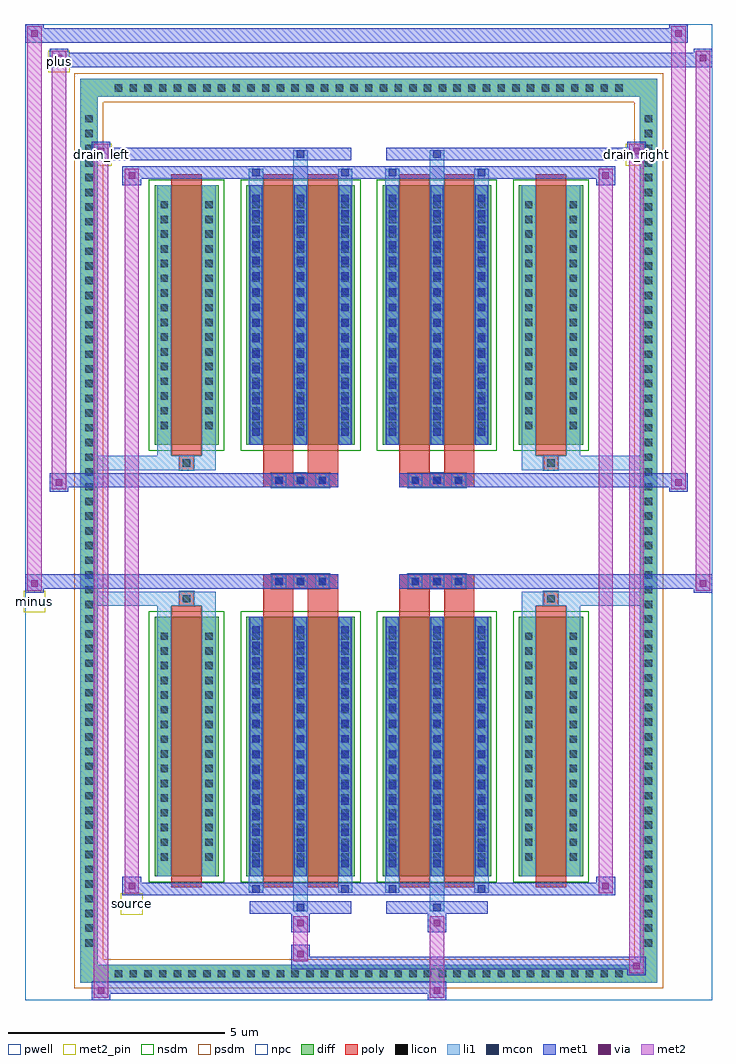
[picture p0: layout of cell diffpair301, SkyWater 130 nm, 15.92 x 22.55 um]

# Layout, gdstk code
import gdstk
lib = gdstk.Library(unit=1e-6, precision=5e-09)
def R(c, l, rs):  # rectangles x0, y0, x1, y1
    for r in rs: c.add(gdstk.rectangle(r[:2], r[2:], *l))
def A(c, l, x, y, w, h, nx, ny, dx, dy):  # array of equal rectangles
    R(c, l, [(x+i*dx, y+j*dy, x+i*dx+w, y+j*dy+h) for i in range(nx) for j in range(ny)])
def P(c, l, *ps):  # polygons
    for p in ps: c.add(gdstk.Polygon(p, *l))
pwell = (64, 44)
diff = (65, 20)
poly = (66, 20)
licon = (66, 44)
li1 = (67, 20)
mcon = (67, 44)
met1 = (68, 20)
via = (68, 44)
met2_pin = (69, 16)
met2 = (69, 20)
nsdm = (93, 44)
psdm = (94, 20)
npc = (95, 20)

diffpair301 = lib.new_cell('diffpair301')
R(diffpair301, pwell, [(-7.94,-10.84,7.94,11.71), (-5.26,-9.03,-0.01,-0.805), (0.01,-9.03,5.26,-0.805), (-5.26,0.805,-0.01,9.03), (0.01,0.805,5.26,9.03)])
A(diffpair301, diff, -5.985, -10.44, 0.41, 0.41, 35, 2, 0.34, 20.47)
A(diffpair301, diff, -6.67, -9.725, 0.41, 0.41, 1, 57, 0, 0.34)
A(diffpair301, diff, 6.26, -9.725, 0.41, 0.41, 1, 57, 0, 0.34)
R(diffpair301, diff, [(-5.985,-10.44,5.985,-10.03), (-6.67,-9.725,-6.26,9.725), (6.26,-9.725,6.67,9.725), (-4.95,-7.985,-3.47,-1.985), (-2.83,-7.985,-0.32,-1.985), (0.32,-7.985,2.83,-1.985), (3.47,-7.985,4.95,-1.985), (-4.95,1.985,-3.47,7.985), (-2.83,1.985,-0.32,7.985), (0.32,1.985,2.83,7.985), (3.47,1.985,4.95,7.985), (-5.985,10.03,5.985,10.44)])
P(diffpair301, diff, [(6.67,10.44),(-6.67,10.44),(-6.67,-10.03),(-6.26,-10.03),(-6.26,10.03),(6.26,10.03),(6.26,-10.03),(-6.26,-10.03),(-6.67,-10.03),(-6.67,-10.44),(6.67,-10.44)])
A(diffpair301, poly, -2.24, -1.335, 0.33, 0.33, 3, 2, 0.5, 2.34)
A(diffpair301, poly, 0.91, -1.335, 0.33, 0.33, 3, 2, 0.5, 2.34)
R(diffpair301, poly, [(-4.56,-8.235,-3.86,-1.735), (-2.44,-8.235,-1.74,-1.735), (-1.41,-8.235,-0.71,-1.735), (0.71,-8.235,1.41,-1.735), (1.74,-8.235,2.44,-1.735), (3.86,-8.235,4.56,-1.735), (-4.375,-1.735,-4.045,-1.405), (-4.375,-1.735,-4.045,-1.405), (-2.44,-1.735,-1.74,-1.335), (-1.41,-1.735,-0.71,-1.335), (0.71,-1.735,1.41,-1.335), (1.74,-1.735,2.44,-1.335), (4.045,-1.735,4.375,-1.405), (4.045,-1.735,4.375,-1.405), (-2.44,-1.335,-0.71,-1.005), (0.71,-1.335,2.44,-1.005), (-2.44,1.005,-0.71,1.335), (0.71,1.005,2.44,1.335), (-2.44,1.335,-1.74,1.735), (-1.41,1.335,-0.71,1.735), (0.71,1.335,1.41,1.735), (1.74,1.335,2.44,1.735), (-4.375,1.405,-4.045,1.735), (-4.375,1.405,-4.045,1.735), (4.045,1.405,4.375,1.735), (4.045,1.405,4.375,1.735), (-4.56,1.735,-3.86,8.235), (-2.44,1.735,-1.74,8.235), (-1.41,1.735,-0.71,8.235), (0.71,1.735,1.41,8.235), (1.74,1.735,2.44,8.235), (3.86,1.735,4.56,8.235)])
A(diffpair301, licon, -5.865, -10.32, 0.17, 0.17, 35, 2, 0.34, 20.47)
A(diffpair301, licon, -6.55, -9.605, 0.17, 0.17, 1, 57, 0, 0.34)
A(diffpair301, licon, 6.38, -9.605, 0.17, 0.17, 1, 57, 0, 0.34)
A(diffpair301, licon, -4.81, -7.62, 0.17, 0.17, 1, 16, 0, 0.34)
A(diffpair301, licon, -3.78, -7.62, 0.17, 0.17, 1, 16, 0, 0.34)
A(diffpair301, licon, -2.69, -7.62, 0.17, 0.17, 3, 16, 1.03, 0.34)
A(diffpair301, licon, 0.46, -7.62, 0.17, 0.17, 3, 16, 1.03, 0.34)
A(diffpair301, licon, 3.61, -7.62, 0.17, 0.17, 1, 16, 0, 0.34)
A(diffpair301, licon, 4.64, -7.62, 0.17, 0.17, 1, 16, 0, 0.34)
A(diffpair301, licon, -2.16, -1.255, 0.17, 0.17, 3, 2, 0.5, 2.34)
A(diffpair301, licon, 0.99, -1.255, 0.17, 0.17, 3, 2, 0.5, 2.34)
A(diffpair301, licon, -4.81, 2.35, 0.17, 0.17, 1, 16, 0, 0.34)
A(diffpair301, licon, -3.78, 2.35, 0.17, 0.17, 1, 16, 0, 0.34)
A(diffpair301, licon, -2.69, 2.35, 0.17, 0.17, 3, 16, 1.03, 0.34)
A(diffpair301, licon, 0.46, 2.35, 0.17, 0.17, 3, 16, 1.03, 0.34)
A(diffpair301, licon, 3.61, 2.35, 0.17, 0.17, 1, 16, 0, 0.34)
A(diffpair301, licon, 4.64, 2.35, 0.17, 0.17, 1, 16, 0, 0.34)
R(diffpair301, licon, [(-4.295,-1.655,-4.125,-1.485), (4.125,-1.655,4.295,-1.485), (-4.295,1.485,-4.125,1.655), (4.125,1.485,4.295,1.655)])
A(diffpair301, li1, -5.945, -10.4, 0.33, 0.33, 35, 2, 0.34, 20.47)
A(diffpair301, li1, -6.63, -9.685, 0.33, 0.33, 1, 57, 0, 0.34)
A(diffpair301, li1, 6.3, -9.685, 0.33, 0.33, 1, 57, 0, 0.34)
A(diffpair301, li1, -2.77, -7.985, 0.33, 6, 3, 2, 1.03, 9.97)
A(diffpair301, li1, 0.38, -7.985, 0.33, 6, 3, 2, 1.03, 9.97)
A(diffpair301, li1, -2.69, -7.77, 0.17, 0.17, 3, 16, 1.03, 0.36)
A(diffpair301, li1, -2.69, -7.77, 0.17, 5.57, 3, 2, 1.03, 9.97)
A(diffpair301, li1, 0.46, -7.77, 0.17, 0.17, 3, 16, 1.03, 0.36)
A(diffpair301, li1, 0.46, -7.77, 0.17, 5.57, 3, 2, 1.03, 9.97)
A(diffpair301, li1, -4.89, -7.7, 0.33, 0.33, 1, 16, 0, 0.34)
A(diffpair301, li1, -3.86, -7.7, 0.33, 0.33, 1, 16, 0, 0.34)
A(diffpair301, li1, -2.77, -7.7, 0.33, 0.33, 3, 16, 1.03, 0.34)
A(diffpair301, li1, 0.38, -7.7, 0.33, 0.33, 3, 16, 1.03, 0.34)
A(diffpair301, li1, 3.53, -7.7, 0.33, 0.33, 1, 16, 0, 0.34)
A(diffpair301, li1, 4.56, -7.7, 0.33, 0.33, 1, 16, 0, 0.34)
A(diffpair301, li1, -2.24, -1.335, 0.33, 0.33, 3, 2, 0.5, 2.34)
A(diffpair301, li1, 0.91, -1.335, 0.33, 0.33, 3, 2, 0.5, 2.34)
A(diffpair301, li1, -2.69, 2.2, 0.17, 0.17, 3, 16, 1.03, 0.36)
A(diffpair301, li1, 0.46, 2.2, 0.17, 0.17, 3, 16, 1.03, 0.36)
A(diffpair301, li1, -4.89, 2.27, 0.33, 0.33, 1, 16, 0, 0.34)
A(diffpair301, li1, -3.86, 2.27, 0.33, 0.33, 1, 16, 0, 0.34)
A(diffpair301, li1, -2.77, 2.27, 0.33, 0.33, 3, 16, 1.03, 0.34)
A(diffpair301, li1, 0.38, 2.27, 0.33, 0.33, 3, 16, 1.03, 0.34)
A(diffpair301, li1, 3.53, 2.27, 0.33, 0.33, 1, 16, 0, 0.34)
A(diffpair301, li1, 4.56, 2.27, 0.33, 0.33, 1, 16, 0, 0.34)
R(diffpair301, li1, [(-6.67,-10.44,-6.26,-10.03), (-6.67,-10.44,-6.26,-10.03), (-6.26,-10.44,6.26,-10.03), (6.26,-10.44,6.67,-10.03), (6.26,-10.44,6.67,-10.03), (-6.67,-10.03,-6.26,10.03), (6.26,-10.03,6.67,10.03), (-1.74,-8.79,-1.41,-7.985), (-1.66,-8.79,-1.49,-8.62), (1.41,-8.79,1.74,-7.985), (1.49,-8.79,1.66,-8.62), (-2.77,-8.36,-2.44,-7.985), (-2.69,-8.36,-2.52,-8.19), (-0.71,-8.36,-0.38,-7.985), (-0.63,-8.36,-0.46,-8.19), (0.38,-8.36,0.71,-7.985), (0.46,-8.36,0.63,-8.19), (2.44,-8.36,2.77,-7.985), (2.52,-8.36,2.69,-8.19), (-4.89,-7.985,-4.56,-1.985), (-3.86,-7.985,-3.53,-1.985), (3.53,-7.985,3.86,-1.985), (4.56,-7.985,4.89,-1.985), (-4.89,-1.985,-4.56,-1.405), (-3.86,-1.985,-3.53,-1.405), (3.53,-1.985,3.86,-1.405), (4.56,-1.985,4.89,-1.405), (-6.67,-1.735,-4.375,-1.405), (-4.89,-1.735,-4.375,-1.405), (-4.375,-1.735,-4.045,-1.405), (-4.045,-1.735,-3.53,-1.405), (3.53,-1.735,4.045,-1.405), (4.045,-1.735,4.375,-1.405), (4.045,-1.735,6.67,-1.405), (4.375,-1.735,4.89,-1.405), (-6.67,1.405,-4.375,1.735), (-4.89,1.405,-4.375,1.735), (-4.89,1.405,-4.56,1.985), (-4.375,1.405,-4.045,1.735), (-4.045,1.405,-3.53,1.735), (-3.86,1.405,-3.53,1.985), (3.53,1.405,4.045,1.735), (3.53,1.405,3.86,1.985), (4.045,1.405,4.375,1.735), (4.045,1.405,6.67,1.735), (4.375,1.405,4.89,1.735), (4.56,1.405,4.89,1.985), (-4.89,1.985,-4.56,7.985), (-3.86,1.985,-3.53,7.985), (3.53,1.985,3.86,7.985), (4.56,1.985,4.89,7.985), (-2.77,7.985,-2.44,8.36), (-1.74,7.985,-1.41,8.79), (-0.71,7.985,-0.38,8.36), (0.38,7.985,0.71,8.36), (1.41,7.985,1.74,8.79), (2.44,7.985,2.77,8.36), (-2.69,8.19,-2.52,8.36), (-0.63,8.19,-0.46,8.36), (0.46,8.19,0.63,8.36), (2.52,8.19,2.69,8.36), (-1.66,8.62,-1.49,8.79), (1.49,8.62,1.66,8.79), (-6.67,10.03,-6.26,10.44), (-6.67,10.03,-6.26,10.44), (-6.26,10.03,6.26,10.44), (6.26,10.03,6.67,10.44), (6.26,10.03,6.67,10.44)])
A(diffpair301, mcon, -2.69, -7.77, 0.17, 0.17, 3, 16, 1.03, 0.36)
A(diffpair301, mcon, 0.46, -7.77, 0.17, 0.17, 3, 16, 1.03, 0.36)
A(diffpair301, mcon, -2.16, -1.255, 0.17, 0.17, 3, 2, 0.5, 2.34)
A(diffpair301, mcon, 0.99, -1.255, 0.17, 0.17, 3, 2, 0.5, 2.34)
A(diffpair301, mcon, -2.69, 2.2, 0.17, 0.17, 3, 16, 1.03, 0.36)
A(diffpair301, mcon, 0.46, 2.2, 0.17, 0.17, 3, 16, 1.03, 0.36)
R(diffpair301, mcon, [(-1.66,-8.79,-1.49,-8.62), (1.49,-8.79,1.66,-8.62), (-2.69,-8.36,-2.52,-8.19), (-0.63,-8.36,-0.46,-8.19), (0.46,-8.36,0.63,-8.19), (2.52,-8.36,2.69,-8.19), (-2.69,8.19,-2.52,8.36), (-0.63,8.19,-0.46,8.36), (0.46,8.19,0.63,8.36), (2.52,8.19,2.69,8.36), (-1.66,8.62,-1.49,8.79), (1.49,8.62,1.66,8.79)])
A(diffpair301, met1, -2.75, -7.985, 0.29, 6, 3, 2, 1.03, 9.97)
A(diffpair301, met1, 0.4, -7.985, 0.29, 6, 3, 2, 1.03, 9.97)
A(diffpair301, met1, -2.75, -7.83, 0.29, 0.29, 3, 16, 1.03, 0.36)
A(diffpair301, met1, 0.4, -7.83, 0.29, 0.29, 3, 16, 1.03, 0.36)
A(diffpair301, met1, -2.22, -1.315, 0.29, 0.29, 3, 2, 0.5, 2.34)
A(diffpair301, met1, 0.93, -1.315, 0.29, 0.29, 3, 2, 0.5, 2.34)
A(diffpair301, met1, -2.75, 2.14, 0.29, 0.29, 3, 16, 1.03, 0.36)
A(diffpair301, met1, 0.4, 2.14, 0.29, 0.29, 3, 16, 1.03, 0.36)
R(diffpair301, met1, [(-6.4,-10.84,-5.97,-10.41), (1.36,-10.84,1.79,-10.41), (-6.4,-10.7,1.79,-10.41), (5.97,-10.27,6.4,-9.84), (-1.79,-10.13,6.4,-9.84), (-1.79,-9.99,-1.36,-9.56), (-1.79,-9.28,-1.36,-8.85), (1.36,-9.28,1.79,-8.85), (-2.75,-8.85,-0.4,-8.56), (-1.72,-8.85,-1.43,-8.56), (0.4,-8.85,2.75,-8.56), (1.43,-8.85,1.72,-8.56), (-5.69,-8.42,-5.26,-7.99), (-5.69,-8.42,-2.75,-8.13), (-2.75,-8.42,-2.46,-8.13), (-2.75,-8.42,-0.4,-8.13), (-0.69,-8.42,-0.4,-8.13), (-0.4,-8.42,0.4,-8.13), (0.4,-8.42,0.69,-8.13), (0.4,-8.42,2.75,-8.13), (2.46,-8.42,2.75,-8.13), (2.75,-8.42,5.69,-8.13), (5.26,-8.42,5.69,-7.99), (-7.94,-1.435,-7.51,-1.005), (7.51,-1.435,7.94,-1.005), (-7.94,-1.335,-0.71,-1.005), (-2.44,-1.335,-0.71,-1.005), (0.71,-1.335,2.44,-1.005), (0.71,-1.335,7.94,-1.005), (-7.37,0.905,-6.94,1.335), (6.94,0.905,7.37,1.335), (-7.37,1.005,-2.44,1.335), (-2.44,1.005,-0.71,1.335), (0.71,1.005,2.44,1.335), (2.44,1.005,7.37,1.335), (-5.69,7.99,-5.26,8.42), (5.26,7.99,5.69,8.42), (-5.69,8.13,-2.75,8.42), (-2.75,8.13,-2.46,8.42), (-2.75,8.13,-0.4,8.42), (-0.69,8.13,-0.4,8.42), (-0.4,8.13,0.4,8.42), (0.4,8.13,0.69,8.42), (0.4,8.13,2.75,8.42), (2.46,8.13,2.75,8.42), (2.75,8.13,5.69,8.42), (-6.4,8.56,-5.97,8.99), (-6.4,8.56,-2.75,8.85), (-2.75,8.56,-0.4,8.85), (-1.72,8.56,-1.43,8.85), (0.4,8.56,2.75,8.85), (1.43,8.56,1.72,8.85), (2.75,8.56,6.4,8.85), (5.97,8.56,6.4,8.99), (-7.37,10.71,-6.94,11.14), (-7.37,10.71,-5.26,11.04), (-5.26,10.71,5.26,11.04), (5.26,10.71,7.94,11.04), (7.51,10.71,7.94,11.14), (-7.94,11.28,-7.51,11.71), (-7.94,11.28,-5.26,11.61), (-5.26,11.28,5.26,11.61), (5.26,11.28,7.37,11.61), (6.94,11.28,7.37,11.71)])
R(diffpair301, via, [(-6.26,-10.7,-6.11,-10.55), (1.5,-10.7,1.65,-10.55), (6.11,-10.13,6.26,-9.98), (-1.65,-9.85,-1.5,-9.7), (-1.65,-9.14,-1.5,-8.99), (1.5,-9.14,1.65,-8.99), (-5.55,-8.28,-5.4,-8.13), (5.4,-8.28,5.55,-8.13), (-7.8,-1.295,-7.65,-1.145), (7.65,-1.295,7.8,-1.145), (-7.23,1.045,-7.08,1.195), (7.08,1.045,7.23,1.195), (-5.55,8.13,-5.4,8.28), (5.4,8.13,5.55,8.28), (-6.26,8.7,-6.11,8.85), (6.11,8.7,6.26,8.85), (-7.23,10.85,-7.08,11), (7.65,10.85,7.8,11), (-7.8,11.42,-7.65,11.57), (7.08,11.42,7.23,11.57)])
R(diffpair301, met2_pin, [(-5.725,-8.87,-5.225,-8.37), (-7.975,-1.885,-7.475,-1.385), (-6.435,8.44,-5.935,8.94), (5.935,8.44,6.435,8.94), (-7.405,10.59,-6.905,11.09)])
R(diffpair301, met2, [(-6.35,-10.79,-6.02,-10.46), (-6.35,-10.79,-6.02,8.94), (1.41,-10.79,1.74,-10.46), (1.41,-10.46,1.74,-9.23), (6.02,-10.22,6.35,-9.89), (6.02,-10.22,6.35,8.94), (-1.74,-9.94,-1.41,-9.61), (-1.74,-9.61,-1.41,-9.23), (-1.74,-9.23,-1.41,-8.9), (1.41,-9.23,1.74,-8.9), (-5.64,-8.37,-5.31,-8.04), (-5.64,-8.37,-5.31,8.37), (5.31,-8.37,5.64,-8.04), (5.31,-8.37,5.64,8.37), (-7.89,-1.385,-7.56,-1.055), (-7.89,-1.385,-7.56,11.66), (7.56,-1.385,7.89,-1.055), (7.56,-1.385,7.89,11.09), (-7.32,0.955,-6.99,1.285), (-7.32,0.955,-6.99,11.09), (6.99,0.955,7.32,1.285), (6.99,0.955,7.32,11.66), (-5.64,8.04,-5.31,8.37), (5.31,8.04,5.64,8.37), (-6.35,8.61,-6.02,8.94), (6.02,8.61,6.35,8.94), (-7.32,10.76,-6.99,11.09), (7.56,10.76,7.89,11.09), (-7.89,11.33,-7.56,11.66), (6.99,11.33,7.32,11.66)])
P(diffpair301, met2, [(7.89,-1.385),(7.89,-1.385),(7.89,-1.055),(7.89,-1.055)],
  [(7.89,10.76),(7.89,10.76),(7.89,11.09),(7.89,11.09)],
  [(-7.56,-1.385),(-7.56,-1.385),(-7.56,-1.055),(-7.56,-1.055)],
  [(-7.56,11.33),(-7.56,11.33),(-7.56,11.66),(-7.56,11.66)],
  [(7.32,0.955),(7.32,0.955),(7.32,1.285),(7.32,1.285)],
  [(7.32,11.33),(7.32,11.33),(7.32,11.66),(7.32,11.66)],
  [(-6.99,0.955),(-6.99,0.955),(-6.99,1.285),(-6.99,1.285)],
  [(-6.99,10.76),(-6.99,10.76),(-6.99,11.09),(-6.99,11.09)],
  [(-6.02,-10.79),(-6.02,-10.79),(-6.02,-10.46),(-6.02,-10.46)],
  [(-6.02,8.61),(-6.02,8.61),(-6.02,8.94),(-6.02,8.94)],
  [(6.35,-10.22),(6.35,-10.22),(6.35,-9.89),(6.35,-9.89)],
  [(6.35,8.61),(6.35,8.61),(6.35,8.94),(6.35,8.94)],
  [(-5.31,-8.37),(-5.31,-8.37),(-5.31,-8.04),(-5.31,-8.04)],
  [(-5.31,8.04),(-5.31,8.04),(-5.31,8.37),(-5.31,8.37)],
  [(5.64,-8.37),(5.64,-8.37),(5.64,-8.04),(5.64,-8.04)],
  [(5.64,8.04),(5.64,8.04),(5.64,8.37),(5.64,8.37)])
R(diffpair301, nsdm, [(-5.08,-8.115,-3.34,-1.855), (-2.96,-8.115,-0.19,-1.855), (0.19,-8.115,2.96,-1.855), (3.34,-8.115,5.08,-1.855), (-5.08,1.855,-3.34,8.115), (-2.96,1.855,-0.19,8.115), (0.19,1.855,2.96,8.115), (3.34,1.855,5.08,8.115)])
P(diffpair301, psdm, [(6.8,10.57),(-6.8,10.57),(-6.8,-9.9),(-6.13,-9.9),(-6.13,9.9),(6.13,9.9),(6.13,-9.9),(-6.13,-9.9),(-6.8,-9.9),(-6.8,-10.57),(6.8,-10.57)])
A(diffpair301, npc, -2.26, -1.355, 0.37, 0.37, 3, 2, 0.5, 2.34)
A(diffpair301, npc, 0.89, -1.355, 0.37, 0.37, 3, 2, 0.5, 2.34)
R(diffpair301, npc, [(-4.395,-1.755,-4.025,-1.385), (4.025,-1.755,4.395,-1.385), (-2.26,-1.355,-1.39,-0.985), (-2.26,-1.355,-1.39,-0.985), (-1.76,-1.355,-0.89,-0.985), (-1.76,-1.355,-0.89,-0.985), (0.89,-1.355,1.76,-0.985), (0.89,-1.355,1.76,-0.985), (1.39,-1.355,2.26,-0.985), (1.39,-1.355,2.26,-0.985), (-2.26,0.985,-1.39,1.355), (-2.26,0.985,-1.39,1.355), (-1.76,0.985,-0.89,1.355), (-1.76,0.985,-0.89,1.355), (0.89,0.985,1.76,1.355), (0.89,0.985,1.76,1.355), (1.39,0.985,2.26,1.355), (1.39,0.985,2.26,1.355), (-4.395,1.385,-4.025,1.755), (4.025,1.385,4.395,1.755)])
diffpair301.add(gdstk.Label('minus', (-7.725,-1.635), layer=69, texttype=5))
diffpair301.add(gdstk.Label('drain_right', (6.185,8.69), layer=69, texttype=5))
diffpair301.add(gdstk.Label('drain_left', (-6.185,8.69), layer=69, texttype=5))
diffpair301.add(gdstk.Label('source', (-5.475,-8.62), layer=69, texttype=5))
diffpair301.add(gdstk.Label('plus', (-7.155,10.84), layer=69, texttype=5))

lib.write_gds('diffpair301.gds')
